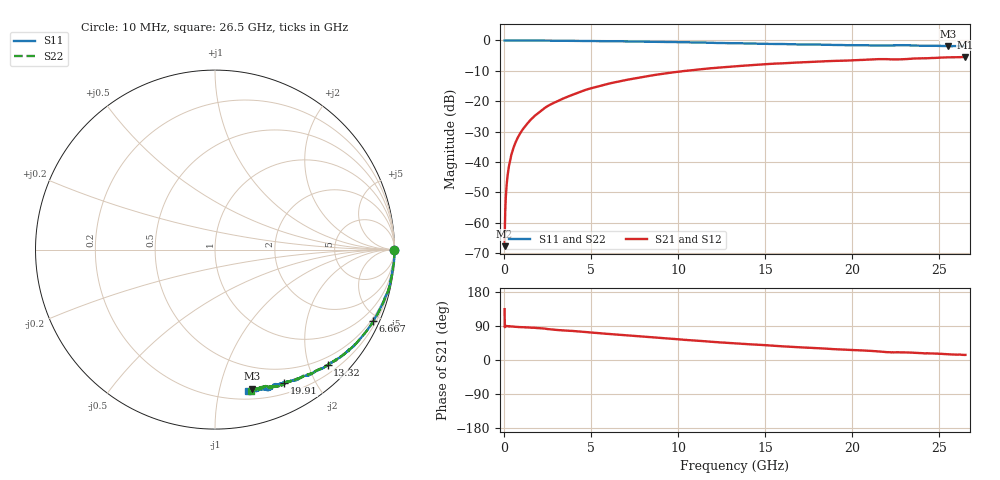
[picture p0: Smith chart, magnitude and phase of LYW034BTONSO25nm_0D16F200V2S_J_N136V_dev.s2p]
!Keysight Technologies,N5222B,MY61253708,A.15.00.15
!Date: Wednesday, June 19, 2024 10:01:15
!Correction: S11(C  2-Port  )
!S21(C  2-Port  )
!S12(C  2-Port  )
!S22(C  2-Port  )
!S2P File: Measurements: S11, S21, S12, S22:
# Hz S  RI  R 50
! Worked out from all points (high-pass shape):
!   2651 points, 10 MHz to 26.5 GHz, reference 50 ohm
!   highest |S21| = -5.40 dB at 26.5 GHz (marker M1); lowest = -67.8 dB at 10 MHz (marker M2)
!   |S21| within 3 dB of the highest: 13.55 GHz to end of sweep
!   lowest |S11| = -1.9 dB at 25.5 GHz (marker M3), VSWR 9.08, Z = 14.5 - j63 ohm
!   |S11| at or under -10 dB: nowhere
!   |S22| runs from -1.9 to 0.0 dB; largest |S21 - S12| = 0.0061
!   S11 on the Smith chart (normalised r, x): 10 MHz: open; 6.667 GHz: 0.37, -4.61; 13.32 GHz: 0.35, -2.33; 19.91 GHz: 0.32, -1.60; 26.5 GHz: 0.27, -1.23
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1e7  0.9985 -0.00275  -0.000285 0.000293  0.000268 0.00037  0.9984 -0.00152
1.699396e8  0.9999 -0.0117  6.05e-05 0.0056  4.71e-05 0.00563  0.9997 -0.0111
2.199208e8  0.9999 -0.0149  0.000114 0.00722  9.77e-05 0.00726  0.9994 -0.0141
2.798981e8  1 -0.0188  0.000203 0.00921  0.000168 0.00927  0.9997 -0.0183
3.898566e8  0.9996 -0.0265  0.000357 0.0128  0.000348 0.0129  0.9993 -0.0256
5.198075e8  0.9989 -0.0343  0.000554 0.017  0.000589 0.0172  0.9992 -0.0339
6.797472e8  0.9985 -0.0446  0.000953 0.0223  0.000954 0.0224  0.9986 -0.0443
8.696755e8  0.998 -0.0574  0.00158 0.0284  0.00158 0.0285  0.9973 -0.057
1.479445e9  0.9908 -0.0986  0.00384 0.0486  0.00386 0.0487  0.9935 -0.0952
2.349117e9  0.9823 -0.1517  0.00999 0.0777  0.0102 0.0782  0.9834 -0.1521
3.208792e9  0.9716 -0.206  0.0208 0.1031  0.021 0.1037  0.9713 -0.2056
4.428332e9  0.9436 -0.2786  0.0378 0.1405  0.0381 0.1412  0.945 -0.2762
6.667487e9  0.882 -0.3985  0.0863 0.1959  0.0874 0.1964  0.8836 -0.3986
8.846664e9  0.806 -0.4997  0.1432 0.2356  0.1446 0.236  0.807 -0.4987
1.3255e10  0.6315 -0.6404  0.2697 0.2606  0.2716 0.2601  0.6343 -0.6394
1.332497e10  0.6275 -0.6438  0.2724 0.2603  0.2737 0.2596  0.6294 -0.641
1.767333e10  0.4606 -0.7214  0.376 0.2338  0.3789 0.2319  0.4696 -0.7189
1.991249e10  0.3848 -0.7442  0.4206 0.2102  0.4226 0.2068  0.3959 -0.7405
2.209166e10  0.3253 -0.7556  0.4591 0.1725  0.4604 0.1692  0.3178 -0.7612
2.308129e10  0.2969 -0.7833  0.4639 0.1686  0.4644 0.1674  0.2955 -0.7637
2.550038e10  0.2062 -0.7746  0.5086 0.1366  0.5097 0.1357  0.2254 -0.7763
2.65e10  0.1864 -0.7883  0.522 0.1251  0.5213 0.1212  0.1991 -0.7861
